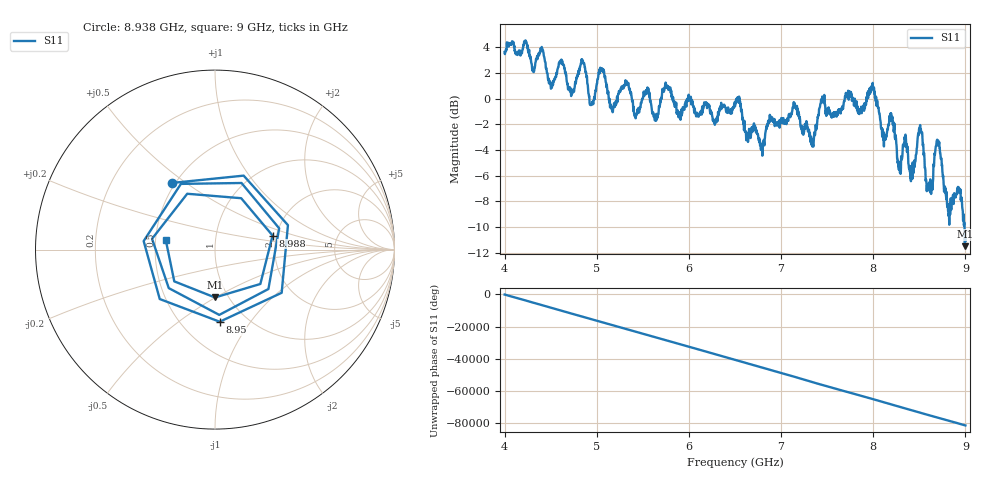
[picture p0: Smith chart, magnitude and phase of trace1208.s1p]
! Created with skrf 1.8.0 (http://scikit-rf.org).
# Hz S RI R 50.0
!freq ReS11 ImS11
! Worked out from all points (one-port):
!   1601 points, 4 GHz to 9 GHz, reference 50 ohm
!   lowest |S11| = -11.5 dB at 8.994 GHz (marker M1), VSWR 1.73, Z = 43.3 - j24.9 ohm
!   |S11| at or under -10 dB: 8.991046 GHz to end of sweep
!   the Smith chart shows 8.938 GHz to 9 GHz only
!   S11 on the Smith chart (normalised r, x): 8.938 GHz: 0.48, +0.45; 8.95 GHz: 0.75, -0.72; 8.988 GHz: 1.91, +0.33; 9 GHz: 0.57, +0.07
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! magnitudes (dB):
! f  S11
! 4 GHz  3.6
! 4.625 GHz  2.9
! 4.734 GHz  0.5
! 4.85 GHz  2.9
! 4.944 GHz  -0.5
! 5.047 GHz  2.3
! 5.159 GHz  -0.7
! 5.25 GHz  0.5
! 5.875 GHz  -1.2
! 6.5 GHz  -0.6
! 6.794 GHz  -3.6
! 7.125 GHz  -0.7
! 7.341 GHz  -3.2
! 7.444 GHz  -0.3
! 7.75 GHz  0.5
! 7.994 GHz  1.2
! 8.109 GHz  -3.2
! 8.375 GHz  -4.1
! 8.425 GHz  -6.2
! 8.509 GHz  -2.1
! 8.619 GHz  -6.3
! 8.7 GHz  -3.7
! 8.812 GHz  -8.8
! 8.938 GHz  -7.1
! 8.95 GHz  -7.9
! 8.988 GHz  -9.6
! 8.994 GHz  -11.5
! 9 GHz  -11.1
